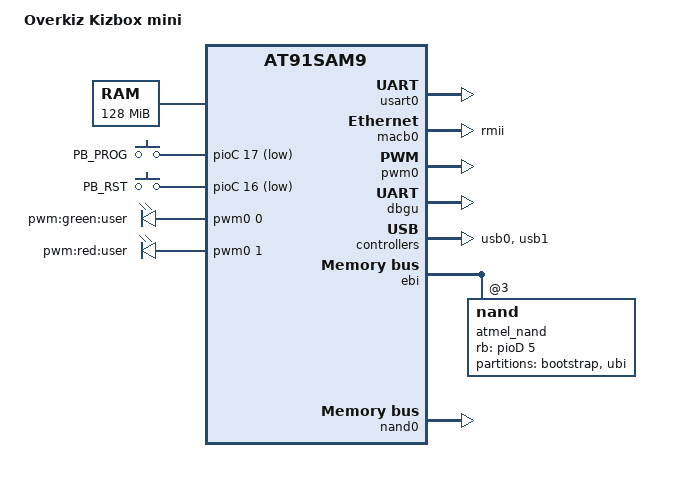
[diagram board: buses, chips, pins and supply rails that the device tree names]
/*
 * at91-kizboxmini.dts - Device Tree file for Overkiz Kizbox mini board
 *
 * Copyright (C) 2014 Gaël PORTAY <g.portay@overkiz.com>
 *
 * Licensed under GPLv2 or later.
 */
/dts-v1/;
#include "at91sam9g25.dtsi"
#include <dt-bindings/pwm/pwm.h>

/ {
	model = "Overkiz Kizbox mini";
	compatible = "overkiz,kizboxmini", "atmel,at91sam9g25", "atmel,at91sam9x5", "atmel,at91sam9";

	chosen {
		bootargs = "ubi.mtd=ubi";
		stdout-path = &dbgu;
	};

	memory {
		reg = <0x20000000 0x8000000>;
	};

	clocks {
		slow_xtal {
			clock-frequency = <32768>;
		};

		main_xtal {
			clock-frequency = <12000000>;
		};
	};

	ahb {
		apb {
			usart0: serial@f801c000 {
				status = "okay";
			};

			macb0: ethernet@f802c000 {
				phy-mode = "rmii";
				status = "okay";
			};

			pwm0: pwm@f8034000 {
				pinctrl-names = "default";
				pinctrl-0 = <&pinctrl_pwm0_pwm0_1
					     &pinctrl_pwm0_pwm1_1>;
				status = "okay";
			};

			dbgu: serial@fffff200 {
				status = "okay";
			};

			watchdog@fffffe40 {
				status = "okay";
			};
		};

		usb0: ohci@600000 {
			num-ports = <1>;
			status = "okay";
		};

		usb1: ehci@700000 {
			status = "okay";
		};

		ebi: ebi@10000000 {
			pinctrl-0 = <&pinctrl_ebi_addr_nand
				     &pinctrl_ebi_data_0_7>;
			pinctrl-names = "default";
			status = "okay";

			nand_controller: nand-controller {
				status = "okay";
				pinctrl-0 = <&pinctrl_nand_oe_we
					     &pinctrl_nand_cs
					     &pinctrl_nand_rb>;
				pinctrl-names = "default";

				nand@3 {
					reg = <0x3 0x0 0x800000>;
					rb-gpios = <&pioD 5 GPIO_ACTIVE_HIGH>;
					cs-gpios = <&pioD 4 GPIO_ACTIVE_HIGH>;
					nand-bus-width = <8>;
					nand-ecc-mode = "hw";
					nand-ecc-strength = <4>;
					nand-ecc-step-size = <512>;
					nand-on-flash-bbt;
					label = "atmel_nand";

					partitions {
						compatible = "fixed-partitions";
						#address-cells = <1>;
						#size-cells = <1>;

						bootstrap@0 {
							label = "bootstrap";
							reg = <0x0 0x20000>;
						};

						ubi@20000 {
							label = "ubi";
							reg = <0x20000 0x7fe0000>;
						};
					};
				};
			};
		};

		nand0: nand@40000000 {
			nand-bus-width = <8>;
			nand-ecc-mode = "hw";
			atmel,has-pmecc;
			atmel,pmecc-cap = <4>;
			atmel,pmecc-sector-size = <512>;
			nand-on-flash-bbt;
			status = "okay";

		};
	};

	gpio_keys {
		compatible = "gpio-keys";
		#address-cells = <1>;
		#size-cells = <0>;

		prog {
			label = "PB_PROG";
			gpios = <&pioC 17 GPIO_ACTIVE_LOW>;
			linux,code = <0x102>;
			wakeup-source;
		};

		reset {
			label = "PB_RST";
			gpios = <&pioC 16 GPIO_ACTIVE_LOW>;
			linux,code = <0x100>;
			wakeup-source;
		};
	};

	pwm_leds {
		compatible = "pwm-leds";

		green {
			label = "pwm:green:user";
			pwms = <&pwm0 0 10000000 0>;
			max-brightness = <255>;
			linux,default-trigger = "default-on";
		};

		red {
			label = "pwm:red:user";
			pwms = <&pwm0 1 10000000 0>;
			max-brightness = <255>;
			linux,default-trigger = "default-on";
		};
	};
};
